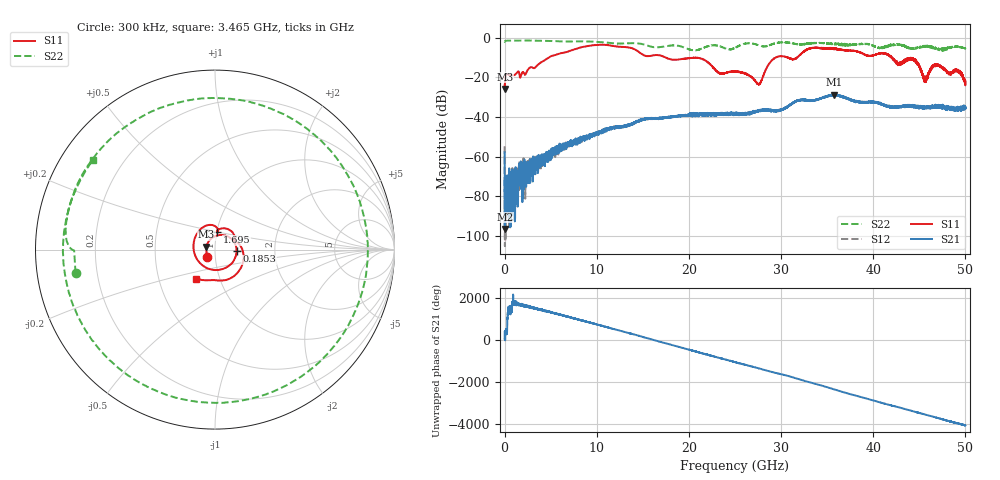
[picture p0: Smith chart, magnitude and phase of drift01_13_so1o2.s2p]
!Created with skrf (http://scikit-rf.org).
# Hz S RI R 50.0
!freq ReS11 ImS11 ReS21 ImS21 ReS12 ImS12 ReS22 ImS22
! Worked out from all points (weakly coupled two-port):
!   10001 points, 300 kHz to 50 GHz, reference 50 ohm
!   highest |S21| = -28.68 dB at 35.74 GHz (marker M1); lowest = -96.5 dB at 20.3 MHz (marker M2)
!   lowest |S11| = -25.8 dB at 5.3 MHz (marker M3), VSWR 1.11, Z = 45.3 + j1.43 ohm
!   |S11| at or under -10 dB: start of sweep to 4.762 GHz; 17.51 GHz to 29.41 GHz (11.9 GHz wide, 50.7 % of centre); 42.05 GHz to end of sweep (the widest 3 of 10)
!   |S22| runs from -6.7 to -1.4 dB; largest |S21 - S12| = 0.004
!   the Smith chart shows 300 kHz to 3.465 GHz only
!   S11 on the Smith chart (normalised r, x): 300 kHz: 0.91, -0.08; 185.3 MHz: 1.27, -0.02; 1.695 GHz: 1.00, +0.20; 3.465 GHz: 0.77, -0.26
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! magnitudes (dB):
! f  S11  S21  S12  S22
! 300 kHz  -24.2  -57.8  -54.7  -2.1
! 5.3 MHz  -25.8  -76.7  -77.2  -2.1
! 20.3 MHz  -24.0  -96.5  -73.6  -1.9
! 185.3 MHz  -18.4  -74.3  -73.6  -1.4
! 795.3 MHz  -19.0  -69.5  -84.8  -1.5
! 1.695 GHz  -20.1  -70.8  -68.0  -1.4
! 3.465 GHz  -14.3  -64.2  -64.7  -1.5
! 8.335 GHz  -4.8  -51.1  -50.5  -1.8
! 16.67 GHz  -8.7  -40.7  -40.7  -4.8
! 21.16 GHz  -10.3  -38.5  -38.3  -5.8
! 25 GHz  -17.1  -38.2  -38.2  -5.1
! 27.59 GHz  -23.6  -36.5  -36.9  -3.8
! 29.28 GHz  -10.3  -36.7  -37.0  -2.8
! 31.45 GHz  -10.7  -32.3  -32.4  -3.0
! 33.34 GHz  -5.2  -31.8  -31.6  -2.7
! 35.74 GHz  -5.4  -28.7  -29.1  -2.9
! 41.67 GHz  -8.9  -34.4  -34.8  -4.4
! 42.74 GHz  -13.0  -34.5  -35.1  -3.3
! 44.41 GHz  -11.5  -34.8  -34.8  -5.3
! 45.63 GHz  -21.5  -35.5  -35.4  -4.3
! 46.93 GHz  -13.7  -34.5  -34.7  -5.4
! 50 GHz  -21.9  -34.9  -35.6  -5.3
